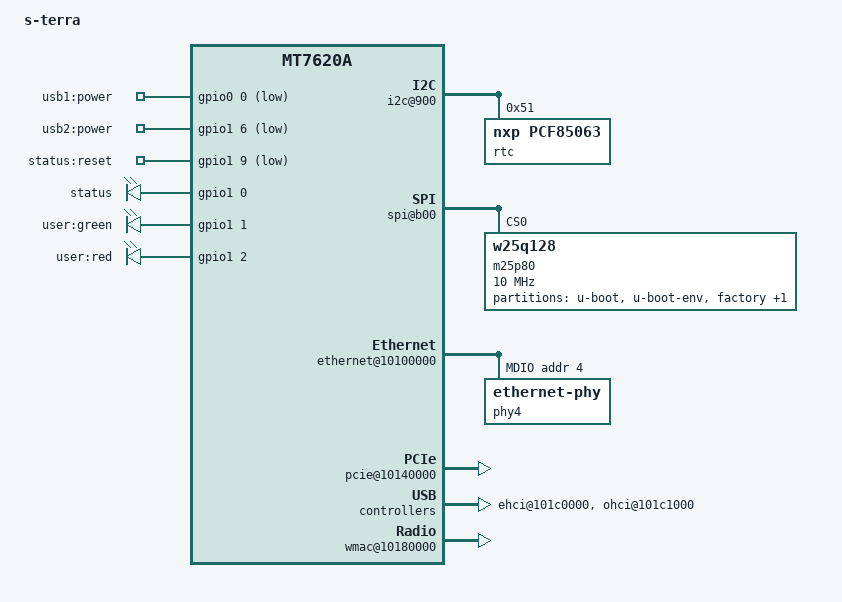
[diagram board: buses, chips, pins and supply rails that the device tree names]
/dts-v1/;

/include/ "mt7620a.dtsi"

/ {
	compatible = "ralink,irz_mt02", "ralink,mt7620a-soc";
	model = "s-terra";
	chosen {
	    bootargs = "console=ttyS0,57600";
	};
	palmbus@10000000 {
		i2c@900 {
			status = "okay";
			rtc@51 {
				compatible = "nxp,pcf85063";
				reg = <0x51>;
			};
		};

		spi@b00 {
			status = "okay";

			m25p80@0 {
				#address-cells = <1>;
				#size-cells = <1>;
				compatible = "w25q128";
				reg = <0 0>;
				linux,modalias = "m25p80", "w25q128";
				spi-max-frequency = <10000000>;

				partition@0 {
					label = "u-boot";
					reg = <0x0 0x30000>;
				};

				partition@30000 {
					label = "u-boot-env";
					reg = <0x30000 0x10000>;
				};

				factory: partition@40000 {
					label = "factory";
					reg = <0x40000 0x10000>;
				};
				partition@50000 {
					label = "firmware";
					reg = <0x50000 0xbb0000>;
				};
				partition {
					label = "opt";
					reg = <0xc00000 0x400000>;
				};
			};
		};

	    	gpio@600 {
			status = "okay";
		};
		gpio@638 {
			status = "okay";
		};
		gpio@660 {
			status = "okay";
		};
		gpio@688 {
			status = "okay";
		};
	};

	pinctrl {
		state_default: pinctrl0 {
			gpio {
				ralink,group = "rgmii1", "rgmii2", "wled";
				ralink,function = "gpio";
			};
			sd {
				ralink,group = "nd_sd";
				ralink,function = "nand";
			};
		};
		uartf_pins: uartf {
			uartf {
				ralink,group = "uartf";
				ralink,function = "uartf";
			};
		};
	};

	ethernet@10100000 {
		status = "okay";

		pinctrl-names = "default";
		pinctrl-0 = <&mdio_pins>;

		ralink,port-map = "llll";
		mtd-mac-address = <&factory 0x28>;

		port@4 {
			status = "okay";
			phy-mode = "ephy";
			phy-handle = <&phy4>;
		};

		mdio-bus {
			status = "okay";

			phy4: ethernet-phy@4 {
				reg = <4>;
				phy-mode = "ephy";
			};
		};
	};



	gsw@10110000 {
		ralink,port4 = "ephy";
	};

	pcie@10140000 {
		status = "okay";
	};

	gpio {
		compatible = "gpio-export";
		USB1_POWER {
		    gpios = <&gpio0 0 1>;
		    gpio-export,name  = "usb1:power";
		    gpio-export,input;
		    gpio-export,direction-may-change;
		};
		USB2_POWER {
		    gpios = <&gpio1 6 1>;
		    gpio-export,name  = "usb2:power";
		    gpio-export,output = <1>;
		    gpio-export,direction-may-change;
		};
		STATUS_RESET {
		    gpios = <&gpio1 9 1>;
		    gpio-export,name  = "status:reset";
		    gpio-export,input;
		};
	};
	gpio-leds {
		compatible = "gpio-leds";
		STATUS {
			label = "status";
			gpios = <&gpio1 0 0>;
		};
		CONNECT_GREEN {
			label = "user:green";
			gpios = <&gpio1 1 0>;
		};
		CONNECT_RED {
			label = "user:red";
			gpios = <&gpio1 2 0>;
		};
	};
	ehci@101c0000 {
		status = "okay";
	};

	ohci@101c1000 {
		status = "okay";
	};
	wmac@10180000 {
		status = "okay";
		ralink,mtd-eeprom = <&factory 0>;
	};
	nand {
		#address-cells = <1>;
		#size-cells = <1>;
		compatible="mtk,mt7620-nand";
	};
};

